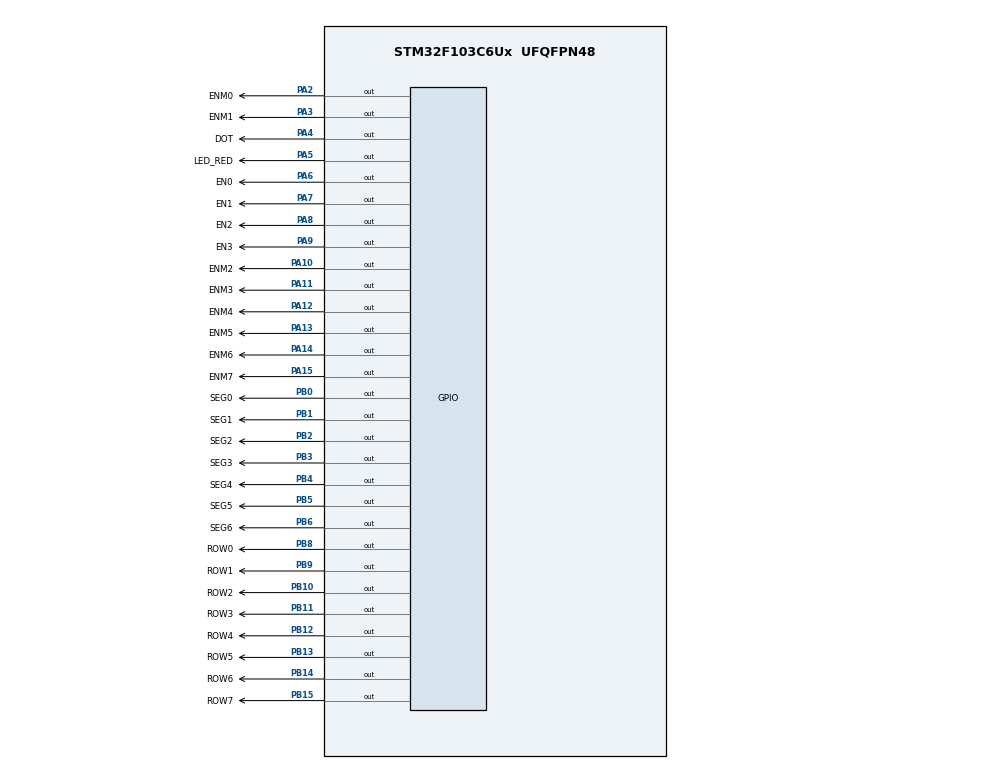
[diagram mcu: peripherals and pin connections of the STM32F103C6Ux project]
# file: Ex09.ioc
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Mcu.Family=STM32F1
Mcu.Name=STM32F103C6Ux
Mcu.Package=UFQFPN48
NVIC.PriorityGroup=NVIC_PRIORITYGROUP_4
NVIC.TIM2_IRQn=true\:0\:0\:false\:false\:true\:true\:true
PA10.GPIO_Label=ENM2
PA10.Signal=GPIO_Output
PA11.GPIO_Label=ENM3
PA11.Signal=GPIO_Output
PA12.GPIO_Label=ENM4
PA12.Signal=GPIO_Output
PA13.GPIO_Label=ENM5
PA13.Signal=GPIO_Output
PA14.GPIO_Label=ENM6
PA14.Signal=GPIO_Output
PA15.GPIO_Label=ENM7
PA15.Signal=GPIO_Output
PA2.GPIO_Label=ENM0
PA2.Signal=GPIO_Output
PA3.GPIO_Label=ENM1
PA3.Signal=GPIO_Output
PA4.GPIO_Label=DOT
PA4.Signal=GPIO_Output
PA5.GPIO_Label=LED_RED
PA5.Signal=GPIO_Output
PA6.GPIO_Label=EN0
PA6.Signal=GPIO_Output
PA7.GPIO_Label=EN1
PA7.Signal=GPIO_Output
PA8.GPIO_Label=EN2
PA8.Signal=GPIO_Output
PA9.GPIO_Label=EN3
PA9.Signal=GPIO_Output
PB0.GPIO_Label=SEG0
PB0.Signal=GPIO_Output
PB1.GPIO_Label=SEG1
PB1.Signal=GPIO_Output
PB10.GPIO_Label=ROW2
PB10.Signal=GPIO_Output
PB11.GPIO_Label=ROW3
PB11.Signal=GPIO_Output
PB12.GPIO_Label=ROW4
PB12.Signal=GPIO_Output
PB13.GPIO_Label=ROW5
PB13.Signal=GPIO_Output
PB14.GPIO_Label=ROW6
PB14.Signal=GPIO_Output
PB15.GPIO_Label=ROW7
PB15.Signal=GPIO_Output
PB2.GPIO_Label=SEG2
PB2.Signal=GPIO_Output
PB3.GPIO_Label=SEG3
PB3.Signal=GPIO_Output
PB4.GPIO_Label=SEG4
PB4.Signal=GPIO_Output
PB5.GPIO_Label=SEG5
PB5.Signal=GPIO_Output
PB6.GPIO_Label=SEG6
PB6.Signal=GPIO_Output
PB8.GPIO_Label=ROW0
PB8.Signal=GPIO_Output
PB9.GPIO_Label=ROW1
PB9.Signal=GPIO_Output
ProjectManager.HeapSize=0x200
ProjectManager.StackSize=0x400
ProjectManager.TargetToolchain=STM32CubeIDE
RCC.APB1Freq_Value=8000000
RCC.APB2Freq_Value=8000000
TIM2.Period=9
TIM2.Prescaler=7999
VP_SYS_VS_ND.Mode=No_Debug
VP_TIM2_VS_ClockSourceINT.Mode=Internal
board=custom

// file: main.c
/* USER CODE BEGIN Header */
/**
  ******************************************************************************
  * @file           : main.c
  * @brief          : Main program body
  ******************************************************************************
  * @attention
  *
  * <h2><center>&copy; Copyright (c) 2024 STMicroelectronics.
  * All rights reserved.</center></h2>
  *
  * This software component is licensed by ST under BSD 3-Clause license,
  * the "License"; You may not use this file except in compliance with the
  * License. You may obtain a copy of the License at:
  *                        opensource.org/licenses/BSD-3-Clause
  *
  ******************************************************************************
  */
/* USER CODE END Header */
#include "main.h"

// Set timer cycle to 100ms

TIM_HandleTypeDef htim2;

/* USER CODE BEGIN PV */
/* Define the maximum number of LED matrix rows */
const int MAX_LED_MATRIX = 8;
/* Initialize the LED matrix index */
int index_led_matrix = 0;

/* Define the buffer to store the LED matrix patterns */
uint8_t matrix_buffer[8] = {0x1C, 0x22, 0x41, 0x41, 0x7F, 0x41, 0x41, 0x41};

/* Timer variables */
int timer_counter = 0;
int timer_flag = 0;

/* USER CODE END PV */

void SystemClock_Config(void);
static void MX_GPIO_Init(void);
static void MX_TIM2_Init(void);
/* USER CODE BEGIN PFP */
void updateLEDMatrix(int);
void shiftLeftMatrixBuffer(void);
void setTimer(int duration);
void timer_run(void);
/* USER CODE END PFP */

int main(void)
{

  /* MCU Configuration--------------------------------------------------------*/

  /* Reset of all peripherals, Initializes the Flash interface and the Systick. */
  HAL_Init();

  /* Configure the system clock */
  SystemClock_Config();

  /* Initialize all configured peripherals */
  MX_GPIO_Init();
  MX_TIM2_Init();
  /* USER CODE BEGIN 2 */
  HAL_TIM_Base_Start_IT(&htim2);

  // Initialize the timer
  setTimer(1);
  /* USER CODE END 2 */

  /* Infinite loop */
  /* USER CODE BEGIN WHILE */
  while (1) {
      if (timer_flag == 1) {

          updateLEDMatrix(index_led_matrix);
          index_led_matrix++;
          if (index_led_matrix >= MAX_LED_MATRIX) {
              index_led_matrix = 0;
              shiftLeftMatrixBuffer();
          }
          setTimer(1);
      }

  }
  /* USER CODE END WHILE */

  /* USER CODE BEGIN 3 */
}
void SystemClock_Config(void)
{
  RCC_OscInitTypeDef RCC_OscInitStruct = {0};
  RCC_ClkInitTypeDef RCC_ClkInitStruct = {0};

  /** Initializes the RCC Oscillators according to the specified parameters
  * in the RCC_OscInitTypeDef structure.
  */
  RCC_OscInitStruct.OscillatorType = RCC_OSCILLATORTYPE_HSI;
  RCC_OscInitStruct.HSIState = RCC_HSI_ON;
  RCC_OscInitStruct.HSICalibrationValue = RCC_HSICALIBRATION_DEFAULT;
  RCC_OscInitStruct.PLL.PLLState = RCC_PLL_NONE;
  if (HAL_RCC_OscConfig(&RCC_OscInitStruct) != HAL_OK)
  {
    Error_Handler();
  }
  /** Initializes the CPU, AHB and APB buses clocks
  */
  RCC_ClkInitStruct.ClockType = RCC_CLOCKTYPE_HCLK|RCC_CLOCKTYPE_SYSCLK
                              |RCC_CLOCKTYPE_PCLK1|RCC_CLOCKTYPE_PCLK2;
  RCC_ClkInitStruct.SYSCLKSource = RCC_SYSCLKSOURCE_HSI;
  RCC_ClkInitStruct.AHBCLKDivider = RCC_SYSCLK_DIV1;
  RCC_ClkInitStruct.APB1CLKDivider = RCC_HCLK_DIV1;
  RCC_ClkInitStruct.APB2CLKDivider = RCC_HCLK_DIV1;

  if (HAL_RCC_ClockConfig(&RCC_ClkInitStruct, FLASH_LATENCY_0) != HAL_OK)
  {
    Error_Handler();
  }
}

static void MX_TIM2_Init(void)
{

  TIM_ClockConfigTypeDef sClockSourceConfig = {0};
  TIM_MasterConfigTypeDef sMasterConfig = {0};

  htim2.Instance = TIM2;
  htim2.Init.Prescaler = 7999;
  htim2.Init.CounterMode = TIM_COUNTERMODE_UP;
  htim2.Init.Period = 9;
  htim2.Init.ClockDivision = TIM_CLOCKDIVISION_DIV1;
  htim2.Init.AutoReloadPreload = TIM_AUTORELOAD_PRELOAD_DISABLE;
  if (HAL_TIM_Base_Init(&htim2) != HAL_OK)
  {
    Error_Handler();
  }
  sClockSourceConfig.ClockSource = TIM_CLOCKSOURCE_INTERNAL;
  if (HAL_TIM_ConfigClockSource(&htim2, &sClockSourceConfig) != HAL_OK)
  {
    Error_Handler();
  }
  sMasterConfig.MasterOutputTrigger = TIM_TRGO_RESET;
  sMasterConfig.MasterSlaveMode = TIM_MASTERSLAVEMODE_DISABLE;
  if (HAL_TIMEx_MasterConfigSynchronization(&htim2, &sMasterConfig) != HAL_OK)
  {
    Error_Handler();
  }
}

static void MX_GPIO_Init(void)
{
  GPIO_InitTypeDef GPIO_InitStruct = {0};

  __HAL_RCC_GPIOA_CLK_ENABLE();
  __HAL_RCC_GPIOB_CLK_ENABLE();

  HAL_GPIO_WritePin(GPIOA, ENM0_Pin|ENM1_Pin|DOT_Pin|LED_RED_Pin
                          |EN0_Pin|EN1_Pin|EN2_Pin|EN3_Pin
                          |ENM2_Pin|ENM3_Pin|ENM4_Pin|ENM5_Pin
                          |ENM6_Pin|ENM7_Pin, GPIO_PIN_RESET);

  HAL_GPIO_WritePin(GPIOB, SEG0_Pin|SEG1_Pin|SEG2_Pin|ROW2_Pin
                          |ROW3_Pin|ROW4_Pin|ROW5_Pin|ROW6_Pin
                          |ROW7_Pin|SEG3_Pin|SEG4_Pin|SEG5_Pin
                          |SEG6_Pin|ROW0_Pin|ROW1_Pin, GPIO_PIN_RESET);

  GPIO_InitStruct.Pin = ENM0_Pin|ENM1_Pin|DOT_Pin|LED_RED_Pin
                          |EN0_Pin|EN1_Pin|EN2_Pin|EN3_Pin
                          |ENM2_Pin|ENM3_Pin|ENM4_Pin|ENM5_Pin
                          |ENM6_Pin|ENM7_Pin;
  GPIO_InitStruct.Mode = GPIO_MODE_OUTPUT_PP;
  GPIO_InitStruct.Pull = GPIO_NOPULL;
  GPIO_InitStruct.Speed = GPIO_SPEED_FREQ_LOW;
  HAL_GPIO_Init(GPIOA, &GPIO_InitStruct);

  GPIO_InitStruct.Pin = SEG0_Pin|SEG1_Pin|SEG2_Pin|ROW2_Pin
                          |ROW3_Pin|ROW4_Pin|ROW5_Pin|ROW6_Pin
                          |ROW7_Pin|SEG3_Pin|SEG4_Pin|SEG5_Pin
                          |SEG6_Pin|ROW0_Pin|ROW1_Pin;
  GPIO_InitStruct.Mode = GPIO_MODE_OUTPUT_PP;
  GPIO_InitStruct.Pull = GPIO_NOPULL;
  GPIO_InitStruct.Speed = GPIO_SPEED_FREQ_LOW;
  HAL_GPIO_Init(GPIOB, &GPIO_InitStruct);
}

/* USER CODE BEGIN 4 */
void HAL_TIM_PeriodElapsedCallback ( TIM_HandleTypeDef * htim )
{

	timer_run();

}
void updateLEDMatrix(int index) {
	/* Disable all columns first */
	    HAL_GPIO_WritePin(GPIOA, ENM0_Pin, GPIO_PIN_SET);
	    HAL_GPIO_WritePin(GPIOA, ENM1_Pin, GPIO_PIN_SET);
	    HAL_GPIO_WritePin(GPIOA, ENM2_Pin, GPIO_PIN_SET);
	    HAL_GPIO_WritePin(GPIOA, ENM3_Pin, GPIO_PIN_SET);
	    HAL_GPIO_WritePin(GPIOA, ENM4_Pin, GPIO_PIN_SET);
	    HAL_GPIO_WritePin(GPIOA, ENM5_Pin, GPIO_PIN_SET);
	    HAL_GPIO_WritePin(GPIOA, ENM6_Pin, GPIO_PIN_SET);
	    HAL_GPIO_WritePin(GPIOA, ENM7_Pin, GPIO_PIN_SET);

	    /* Invert the bits for the current row to reverse the LED states */
	    uint8_t inverted_pattern = ~matrix_buffer[index];

	    /* Set the data for the current row using the inverted pattern */
	    HAL_GPIO_WritePin(GPIOB, ROW7_Pin, (inverted_pattern & 0x01) ? GPIO_PIN_SET : GPIO_PIN_RESET);
	    HAL_GPIO_WritePin(GPIOB, ROW6_Pin, (inverted_pattern & 0x02) ? GPIO_PIN_SET : GPIO_PIN_RESET);
	    HAL_GPIO_WritePin(GPIOB, ROW5_Pin, (inverted_pattern & 0x04) ? GPIO_PIN_SET : GPIO_PIN_RESET);
	    HAL_GPIO_WritePin(GPIOB, ROW4_Pin, (inverted_pattern & 0x08) ? GPIO_PIN_SET : GPIO_PIN_RESET);
	    HAL_GPIO_WritePin(GPIOB, ROW3_Pin, (inverted_pattern & 0x10) ? GPIO_PIN_SET : GPIO_PIN_RESET);
	    HAL_GPIO_WritePin(GPIOB, ROW2_Pin, (inverted_pattern & 0x20) ? GPIO_PIN_SET : GPIO_PIN_RESET);
	    HAL_GPIO_WritePin(GPIOB, ROW1_Pin, (inverted_pattern & 0x40) ? GPIO_PIN_SET : GPIO_PIN_RESET);
	    HAL_GPIO_WritePin(GPIOB, ROW0_Pin, (inverted_pattern & 0x80) ? GPIO_PIN_SET : GPIO_PIN_RESET);

	    /* Enable the corresponding column */
	    switch (index) {
	        case 0:
	            HAL_GPIO_WritePin(GPIOA, ENM0_Pin, GPIO_PIN_RESET);
	            break;
	        case 1:
	            HAL_GPIO_WritePin(GPIOA, ENM1_Pin, GPIO_PIN_RESET);
	            break;
	        case 2:
	            HAL_GPIO_WritePin(GPIOA, ENM2_Pin, GPIO_PIN_RESET);
	            break;
	        case 3:
	            HAL_GPIO_WritePin(GPIOA, ENM3_Pin, GPIO_PIN_RESET);
	            break;
	        case 4:
	            HAL_GPIO_WritePin(GPIOA, ENM4_Pin, GPIO_PIN_RESET);
	            break;
	        case 5:
	            HAL_GPIO_WritePin(GPIOA, ENM5_Pin, GPIO_PIN_RESET);
	            break;
	        case 6:
	            HAL_GPIO_WritePin(GPIOA, ENM6_Pin, GPIO_PIN_RESET);
	            break;
	        case 7:
	            HAL_GPIO_WritePin(GPIOA, ENM7_Pin, GPIO_PIN_RESET);
	            break;
	        default:
	            break;
	    }
}

void setTimer(int duration) {
    timer_counter = duration;
    timer_flag = 0;
}

void timer_run(void) {
    if (timer_counter > 0) {
        timer_counter--;
        if (timer_counter == 0) {
            timer_flag = 1;
        }
    }
}

void shiftLeftMatrixBuffer(void) {
    for (int i = 0; i < 8; i++) {
        // Shift each row one bit to the left, and wrap the MSB to the LSB.
        matrix_buffer[i] = (matrix_buffer[i] << 1) | ((matrix_buffer[i] & 0x80) >> 7);
    }
}
/* USER CODE END 4 */

void Error_Handler(void)
{
  __disable_irq();
  while (1)
  {
  }
}
